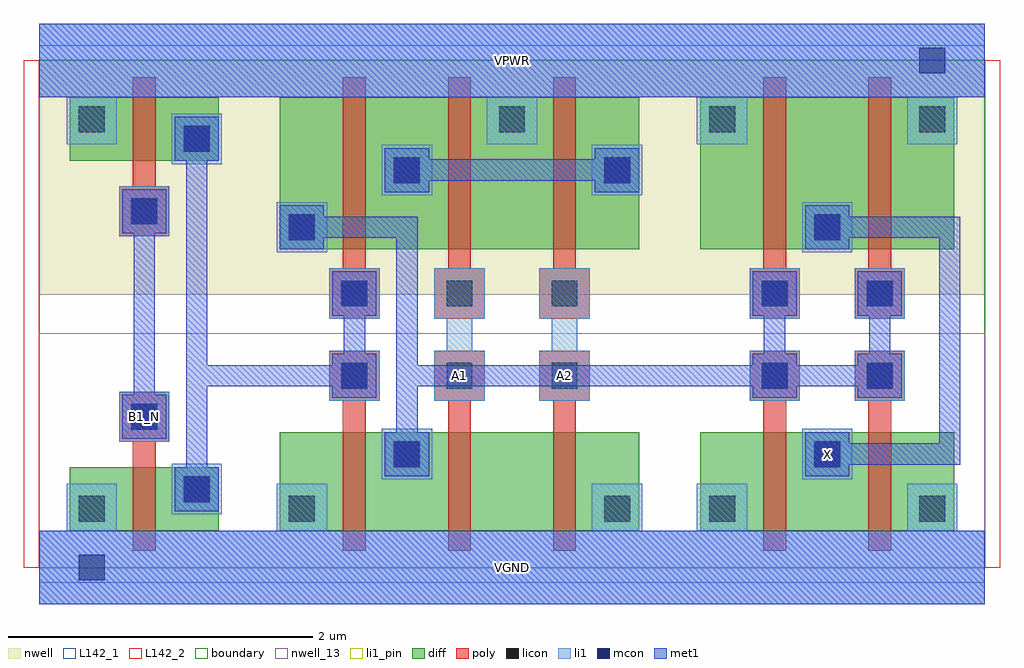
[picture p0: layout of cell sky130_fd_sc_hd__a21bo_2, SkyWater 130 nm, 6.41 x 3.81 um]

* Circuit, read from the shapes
.subckt sky130_fd_sc_hd__a21bo_2 A1 A2 B1_N VGND VPWR X
XM1 n1 B1_N VGND VSUBS sky130_fd_pr__nfet_01v8 w=0.42 l=0.15
XM2 n2 n1 VGND VSUBS sky130_fd_pr__nfet_01v8 w=0.65 l=0.15
XM3 n3 A1 n2 VSUBS sky130_fd_pr__nfet_01v8 w=0.65 l=0.15
XM4 VGND A2 n3 VSUBS sky130_fd_pr__nfet_01v8 w=0.65 l=0.15
XM5 X n2 VGND VSUBS sky130_fd_pr__nfet_01v8 w=0.65 l=0.15 m=2
XM6 n1 B1_N VPWR n4 sky130_fd_pr__pfet_01v8 w=0.42 l=0.15
XM7 n5 n1 n2 n4 sky130_fd_pr__pfet_01v8 w=1 l=0.15
XM8 VPWR A1 n5 n4 sky130_fd_pr__pfet_01v8 w=1 l=0.15
XM9 n5 A2 VPWR n4 sky130_fd_pr__pfet_01v8 w=1 l=0.15
XM10 X n2 VPWR n4 sky130_fd_pr__pfet_01v8 w=1 l=0.15 m=2
.ends

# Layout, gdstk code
import gdstk
lib = gdstk.Library(unit=1e-6, precision=1e-09)
def R(c, l, rs):  # rectangles x0, y0, x1, y1
    for r in rs: c.add(gdstk.rectangle(r[:2], r[2:], *l))
def A(c, l, x, y, w, h, nx, ny, dx, dy):  # array of equal rectangles
    R(c, l, [(x+i*dx, y+j*dy, x+i*dx+w, y+j*dy+h) for i in range(nx) for j in range(ny)])
def P(c, l, *ps):  # polygons
    for p in ps: c.add(gdstk.Polygon(p, *l))
nwell_13 = (64, 13)
nwell = (64, 20)
diff = (65, 20)
poly = (66, 20)
licon = (66, 44)
li1_pin = (67, 16)
li1 = (67, 20)
mcon = (67, 44)
met1 = (68, 20)
L142_1 = (142, 1)
L142_2 = (142, 2)
boundary = (235, 4)

sky130_fd_sc_hd__a21bo_2 = lib.new_cell('sky130_fd_sc_hd__a21bo_2')
R(sky130_fd_sc_hd__a21bo_2, nwell_13, [(0,0,6.21,1.54)])
R(sky130_fd_sc_hd__a21bo_2, nwell, [(0,1.79,6.21,3.33)])
R(sky130_fd_sc_hd__a21bo_2, diff, [(0.2,0.24,1.18,0.66), (0.2,0.24,0.615,0.66), (0.615,0.24,1.18,0.66), (1.58,0.24,3.94,0.89), (1.58,0.24,1.995,0.89), (1.995,0.24,2.685,0.89), (2.685,0.24,3.375,0.89), (3.375,0.24,3.94,0.89), (4.34,0.24,6.01,0.89), (4.34,0.24,4.755,0.89), (4.755,0.24,5.445,0.89), (5.445,0.24,6.01,0.89), (1.58,2.09,3.94,3.09), (1.58,2.09,1.995,3.09), (1.995,2.09,2.685,3.09), (2.685,2.09,3.375,3.09), (3.375,2.09,3.94,3.09), (4.34,2.09,6.01,3.09), (4.34,2.09,4.755,3.09), (4.755,2.09,5.445,3.09), (5.445,2.09,6.01,3.09), (0.2,2.67,1.18,3.09), (0.2,2.67,0.615,3.09), (0.615,2.67,1.18,3.09)])
P(sky130_fd_sc_hd__a21bo_2, poly, [(4.755,0.11),(4.755,1.095),(4.665,1.095),(4.665,1.425),(4.995,1.425),(4.995,1.095),(4.905,1.095),(4.905,0.11)],
  [(5.445,0.11),(5.445,1.095),(5.355,1.095),(5.355,1.425),(5.685,1.425),(5.685,1.095),(5.595,1.095),(5.595,0.11)],
  [(4.665,1.635),(4.665,1.965),(4.755,1.965),(4.755,3.22),(4.905,3.22),(4.905,1.965),(4.995,1.965),(4.995,1.635)],
  [(5.355,1.635),(5.355,1.965),(5.445,1.965),(5.445,3.22),(5.595,3.22),(5.595,1.965),(5.685,1.965),(5.685,1.635)],
  [(0.615,0.11),(0.615,0.825),(0.525,0.825),(0.525,1.155),(0.855,1.155),(0.855,0.825),(0.765,0.825),(0.765,0.11)],
  [(0.525,2.175),(0.525,2.505),(0.615,2.505),(0.615,3.22),(0.765,3.22),(0.765,2.505),(0.855,2.505),(0.855,2.175)],
  [(3.375,0.11),(3.375,1.095),(3.285,1.095),(3.285,1.425),(3.615,1.425),(3.615,1.095),(3.525,1.095),(3.525,0.11)],
  [(3.285,1.635),(3.285,1.965),(3.375,1.965),(3.375,3.22),(3.525,3.22),(3.525,1.965),(3.615,1.965),(3.615,1.635)],
  [(2.685,0.11),(2.685,1.095),(2.595,1.095),(2.595,1.425),(2.925,1.425),(2.925,1.095),(2.835,1.095),(2.835,0.11)],
  [(2.595,1.635),(2.595,1.965),(2.685,1.965),(2.685,3.22),(2.835,3.22),(2.835,1.965),(2.925,1.965),(2.925,1.635)],
  [(1.995,0.11),(1.995,1.095),(1.905,1.095),(1.905,1.425),(2.235,1.425),(2.235,1.095),(2.145,1.095),(2.145,0.11)],
  [(1.905,1.635),(1.905,1.965),(1.995,1.965),(1.995,3.22),(2.145,3.22),(2.145,1.965),(2.235,1.965),(2.235,1.635)])
A(sky130_fd_sc_hd__a21bo_2, licon, 1.985, 1.175, 0.17, 0.17, 3, 2, 0.69, 0.54)
A(sky130_fd_sc_hd__a21bo_2, licon, 3.02, 2.86, 0.17, 0.17, 3, 1, 1.38, 0)
R(sky130_fd_sc_hd__a21bo_2, licon, [(0.26,0.3,0.43,0.47), (1.64,0.3,1.81,0.47), (3.71,0.3,3.88,0.47), (4.4,0.3,4.57,0.47), (5.78,0.3,5.95,0.47), (0.95,0.43,1.12,0.6), (2.33,0.66,2.5,0.83), (5.09,0.66,5.26,0.83), (0.605,0.905,0.775,1.075), (4.745,1.175,4.915,1.345), (5.435,1.175,5.605,1.345), (4.745,1.715,4.915,1.885), (5.435,1.715,5.605,1.885), (1.64,2.15,1.81,2.32), (5.09,2.15,5.26,2.32), (0.605,2.255,0.775,2.425), (2.33,2.525,2.5,2.695), (3.71,2.525,3.88,2.695), (0.95,2.73,1.12,2.9), (0.26,2.86,0.43,3.03)])
R(sky130_fd_sc_hd__a21bo_2, li1_pin, [(0,-0.24,6.21,0.24), (5.01,0.58,5.34,0.91), (0.525,0.825,0.855,1.155), (0,3.09,6.21,3.57)])
P(sky130_fd_sc_hd__a21bo_2, li1_pin, [(2.595,1.095),(2.595,1.425),(2.675,1.425),(2.675,1.635),(2.595,1.635),(2.595,1.965),(2.925,1.965),(2.925,1.635),(2.845,1.635),(2.845,1.425),(2.925,1.425),(2.925,1.095)],
  [(3.285,1.095),(3.285,1.425),(3.365,1.425),(3.365,1.635),(3.285,1.635),(3.285,1.965),(3.615,1.965),(3.615,1.635),(3.535,1.635),(3.535,1.425),(3.615,1.425),(3.615,1.095)])
R(sky130_fd_sc_hd__a21bo_2, li1, [(0.87,0.35,1.2,0.68), (2.25,0.58,2.58,0.91), (5.01,0.58,5.34,0.91), (0.525,0.825,0.855,1.155), (1.905,1.095,2.235,1.425), (4.665,1.095,4.995,1.425), (5.355,1.095,5.685,1.425), (1.905,1.635,2.235,1.965), (4.665,1.635,4.995,1.965), (5.355,1.635,5.685,1.965), (1.56,2.07,1.89,2.4), (5.01,2.07,5.34,2.4), (0.525,2.175,0.855,2.505), (2.25,2.445,2.58,2.775), (3.63,2.445,3.96,2.775), (0.87,2.65,1.2,2.98)])
P(sky130_fd_sc_hd__a21bo_2, li1, [(3.285,1.095),(3.285,1.425),(3.365,1.425),(3.365,1.635),(3.285,1.635),(3.285,1.965),(3.615,1.965),(3.615,1.635),(3.535,1.635),(3.535,1.425),(3.615,1.425),(3.615,1.095)],
  [(0.18,2.78),(0.18,3.09),(0,3.09),(0,3.57),(6.21,3.57),(6.21,3.09),(6.03,3.09),(6.03,2.78),(5.7,2.78),(5.7,3.09),(4.65,3.09),(4.65,2.78),(4.32,2.78),(4.32,3.09),(3.27,3.09),(3.27,2.78),(2.94,2.78),(2.94,3.09),(0.51,3.09),(0.51,2.78)],
  [(2.595,1.095),(2.595,1.425),(2.675,1.425),(2.675,1.635),(2.595,1.635),(2.595,1.965),(2.925,1.965),(2.925,1.635),(2.845,1.635),(2.845,1.425),(2.925,1.425),(2.925,1.095)],
  [(0,-0.24),(0,0.24),(0.18,0.24),(0.18,0.55),(0.51,0.55),(0.51,0.24),(1.56,0.24),(1.56,0.55),(1.89,0.55),(1.89,0.24),(3.63,0.24),(3.63,0.55),(3.96,0.55),(3.96,0.24),(4.32,0.24),(4.32,0.55),(4.65,0.55),(4.65,0.24),(5.7,0.24),(5.7,0.55),(6.03,0.55),(6.03,0.24),(6.21,0.24),(6.21,-0.24)])
R(sky130_fd_sc_hd__a21bo_2, mcon, [(0.26,-0.085,0.43,0.085), (0.95,0.43,1.12,0.6), (2.33,0.66,2.5,0.83), (5.09,0.66,5.26,0.83), (0.605,0.905,0.775,1.075), (1.985,1.175,2.155,1.345), (4.745,1.175,4.915,1.345), (5.435,1.175,5.605,1.345), (1.985,1.715,2.155,1.885), (4.745,1.715,4.915,1.885), (5.435,1.715,5.605,1.885), (1.64,2.15,1.81,2.32), (5.09,2.15,5.26,2.32), (0.605,2.255,0.775,2.425), (2.33,2.525,2.5,2.695), (3.71,2.525,3.88,2.695), (0.95,2.73,1.12,2.9), (5.78,3.245,5.95,3.415)])
R(sky130_fd_sc_hd__a21bo_2, met1, [(0,-0.24,6.21,0.24), (0,3.09,6.21,3.57)])
P(sky130_fd_sc_hd__a21bo_2, met1, [(2.27,0.6),(2.27,0.89),(2.345,0.89),(2.345,2.165),(1.87,2.165),(1.87,2.09),(1.58,2.09),(1.58,2.38),(1.87,2.38),(1.87,2.305),(2.485,2.305),(2.485,1.33),(4.685,1.33),(4.685,1.405),(4.76,1.405),(4.76,1.655),(4.685,1.655),(4.685,1.945),(4.975,1.945),(4.975,1.655),(4.9,1.655),(4.9,1.405),(4.975,1.405),(4.975,1.33),(5.375,1.33),(5.375,1.405),(5.45,1.405),(5.45,1.655),(5.375,1.655),(5.375,1.945),(5.665,1.945),(5.665,1.655),(5.59,1.655),(5.59,1.405),(5.665,1.405),(5.665,1.115),(5.375,1.115),(5.375,1.19),(4.975,1.19),(4.975,1.115),(4.685,1.115),(4.685,1.19),(2.485,1.19),(2.485,0.89),(2.56,0.89),(2.56,0.6)],
  [(0.545,0.845),(0.545,1.135),(0.62,1.135),(0.62,2.195),(0.545,2.195),(0.545,2.485),(0.835,2.485),(0.835,2.195),(0.76,2.195),(0.76,1.135),(0.835,1.135),(0.835,0.845)],
  [(2.27,2.465),(2.27,2.755),(2.56,2.755),(2.56,2.68),(3.65,2.68),(3.65,2.755),(3.94,2.755),(3.94,2.465),(3.65,2.465),(3.65,2.54),(2.56,2.54),(2.56,2.465)],
  [(0.89,0.37),(0.89,0.66),(0.965,0.66),(0.965,2.67),(0.89,2.67),(0.89,2.96),(1.18,2.96),(1.18,2.67),(1.105,2.67),(1.105,1.33),(1.925,1.33),(1.925,1.405),(2,1.405),(2,1.655),(1.925,1.655),(1.925,1.945),(2.215,1.945),(2.215,1.655),(2.14,1.655),(2.14,1.405),(2.215,1.405),(2.215,1.115),(1.925,1.115),(1.925,1.19),(1.105,1.19),(1.105,0.66),(1.18,0.66),(1.18,0.37)],
  [(5.03,0.6),(5.03,0.89),(5.32,0.89),(5.32,0.815),(5.91,0.815),(5.91,2.165),(5.32,2.165),(5.32,2.09),(5.03,2.09),(5.03,2.38),(5.32,2.38),(5.32,2.305),(6.05,2.305),(6.05,0.675),(5.32,0.675),(5.32,0.6)])
R(sky130_fd_sc_hd__a21bo_2, L142_1, [(0,-0.1,6.21,0), (0,3.33,6.21,3.43)])
R(sky130_fd_sc_hd__a21bo_2, L142_2, [(-0.1,0,0,3.33), (6.21,0,6.31,3.33)])
R(sky130_fd_sc_hd__a21bo_2, boundary, [(0,0,6.21,3.33)])
sky130_fd_sc_hd__a21bo_2.add(gdstk.Label('X', (5.175,0.745), layer=67, texttype=5))
sky130_fd_sc_hd__a21bo_2.add(gdstk.Label('A1', (2.76,1.26), layer=67, texttype=5))
sky130_fd_sc_hd__a21bo_2.add(gdstk.Label('B1_N', (0.69,0.99), layer=67, texttype=5))
sky130_fd_sc_hd__a21bo_2.add(gdstk.Label('A2', (3.45,1.26), layer=67, texttype=5))
sky130_fd_sc_hd__a21bo_2.add(gdstk.Label('VGND', (3.105,0), layer=67, texttype=5))
sky130_fd_sc_hd__a21bo_2.add(gdstk.Label('VPWR', (3.105,3.33), layer=67, texttype=5))
sky130_fd_sc_hd__a21bo_2.add(gdstk.Label('VGND', (3.105,0), layer=68, texttype=5))
sky130_fd_sc_hd__a21bo_2.add(gdstk.Label('VPWR', (3.105,3.33), layer=68, texttype=5))

lib.write_gds('sky130_fd_sc_hd__a21bo_2.gds')
